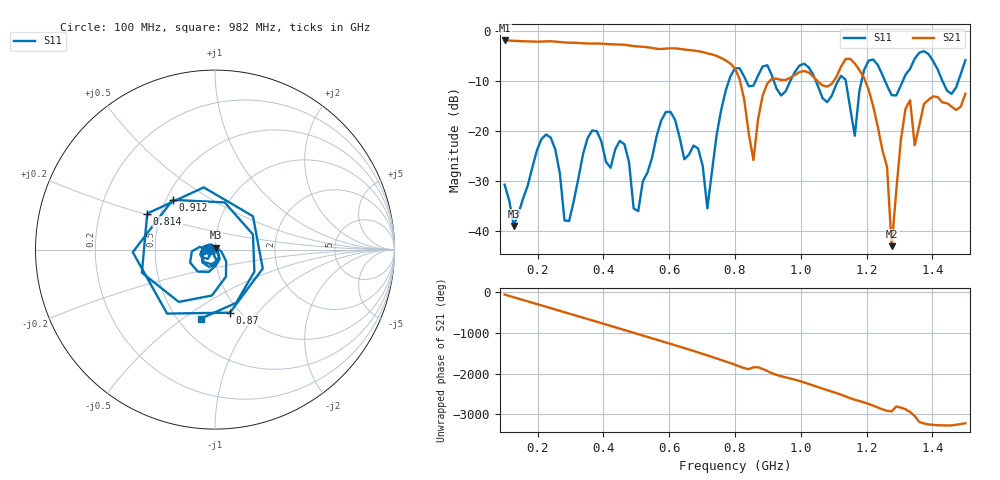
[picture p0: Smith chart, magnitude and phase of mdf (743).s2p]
! NanoVNA-App
! Date: 2025-09-25 15:44:12
! Start: 100MHz Stop: 1,5GHz Points: 101
! S-Parameter data: F S11 S21 S12 S22
# Hz S RI R 50
!  Frequency  S11_Real  S11_Imag  S21_Real  S21_Imag  S12_Real  S12_Imag  S22_Real  S22_Imag
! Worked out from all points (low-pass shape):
!   101 points, 100 MHz to 1.5 GHz, reference 50 ohm
!   highest |S21| = -1.80 dB at 100 MHz (marker M1); lowest = -43.1 dB at 1.276 GHz (marker M2)
!   |S21| within 3 dB of the highest: start of sweep to 739.5 MHz
!   lowest |S11| = -39.0 dB at 128 MHz (marker M3), VSWR 1.02, Z = 50.3 + j1.08 ohm
!   |S11| at or under -10 dB: start of sweep to 781 MHz; 1.046 GHz to 1.113 GHz (66.67 MHz wide, 6.18 % of centre); 1.256 GHz to 1.309 GHz (53.11 MHz wide, 4.14 % of centre) (the widest 3 of 7)
!   S12 and S22 are empty: the file has one direction only
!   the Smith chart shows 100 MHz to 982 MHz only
!   S11 on the Smith chart (normalised r, x): 100 MHz: 0.94, -0.01; 814 MHz: 0.42, +0.21; 870 MHz: 0.90, -0.73; 912 MHz: 0.54, +0.35; 982 MHz: 0.65, -0.59
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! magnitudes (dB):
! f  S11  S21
! 100 MHz  -30.7  -1.8
! 128 MHz  -39.0  -1.9
! 212 MHz  -21.6  -2.0
! 282 MHz  -37.9  -2.2
! 338 MHz  -24.7  -2.4
! 464 MHz  -22.6  -2.7
! 506 MHz  -36.1  -3.0
! 576 MHz  -17.8  -3.5
! 716 MHz  -35.5  -4.4
! 800 MHz  -7.4  -7.4
! 814 MHz  -7.4  -9.5
! 856 MHz  -10.9  -25.8
! 870 MHz  -8.9  -17.6
! 912 MHz  -8.8  -9.5
! 982 MHz  -8.1  -8.7
! 1.038 GHz  -8.7  -9.1
! 1.164 GHz  -20.9  -6.4
! 1.192 GHz  -7.8  -9.3
! 1.262 GHz  -10.9  -27.2
! 1.276 GHz  -12.8  -43.1
! 1.318 GHz  -8.7  -15.5
! 1.5 GHz  -5.8  -12.5
